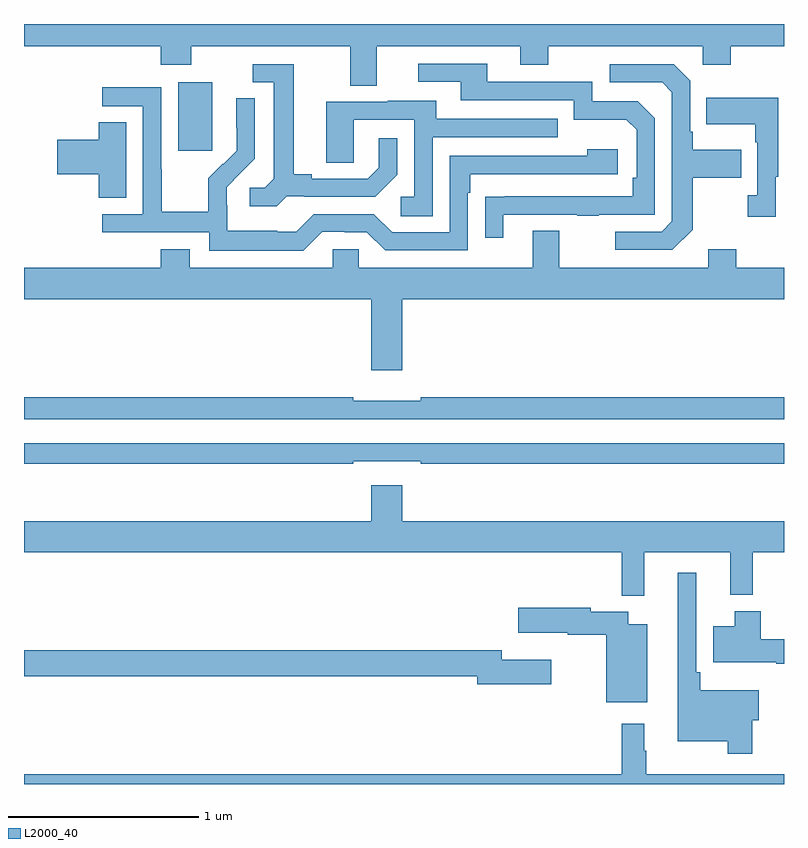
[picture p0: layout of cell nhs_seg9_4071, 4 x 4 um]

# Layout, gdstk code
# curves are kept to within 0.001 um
import gdstk
lib = gdstk.Library(unit=1e-6, precision=1e-09)
def R(c, l, rs):  # rectangles x0, y0, x1, y1
    for r in rs: c.add(gdstk.rectangle(r[:2], r[2:], *l))
def P(c, l, *ps):  # polygons
    for p in ps: c.add(gdstk.Polygon(p, *l))
L2000_40 = (2000, 40)

nhs_seg9_4071 = lib.new_cell('nhs_seg9_4071')
R(nhs_seg9_4071, L2000_40, [(343.811,1231.833,343.99,1232.194)])
P(nhs_seg9_4071, L2000_40, [(344.857,1232.384),(345.611,1232.384),(345.611,1232.285),(345.759,1232.285),(345.759,1232.384),(346.572,1232.384),(346.572,1232.285),(346.719,1232.285),(346.719,1232.384),(347,1232.384),(347,1232.5),(343,1232.5),(343,1232.384),(343.721,1232.384),(343.721,1232.285),(343.881,1232.285),(343.881,1232.384),(344.717,1232.384),(344.717,1232.176),(344.857,1232.176)],
  [(345.523,1231.497),(345.913,1231.497),(345.913,1231.492),(346.025,1231.492),(346.025,1231.497),(346.32,1231.497),(346.32,1232.004),(346.23,1232.094),(345.99,1232.094),(345.99,1232.196),(345.439,1232.196),(345.439,1232.292),(345.075,1232.292),(345.075,1232.196),(345.299,1232.196),(345.299,1232.1),(345.894,1232.1),(345.894,1231.997),(346.171,1231.997),(346.224,1231.944),(346.224,1231.69),(346.204,1231.69),(346.204,1231.593),(345.427,1231.592),(345.427,1231.374),(345.523,1231.374)],
  [(344.382,1231.593),(344.476,1231.593),(344.476,1231.59),(344.848,1231.59),(344.964,1231.706),(344.964,1231.9),(344.867,1231.9),(344.867,1231.743),(344.81,1231.686),(344.515,1231.686),(344.515,1231.709),(344.419,1231.709),(344.419,1232.289),(344.205,1232.289),(344.205,1232.193),(344.315,1232.193),(344.315,1231.685),(344.268,1231.638),(344.187,1231.638),(344.187,1231.541),(344.33,1231.541)],
  [(346.519,1231.417),(346.519,1231.69),(346.775,1231.69),(346.775,1231.837),(346.519,1231.837),(346.519,1231.933),(346.506,1231.933),(346.506,1232.202),(346.419,1232.289),(346.083,1232.289),(346.083,1232.193),(346.359,1232.193),(346.41,1232.142),(346.41,1231.461),(346.356,1231.407),(346.113,1231.407),(346.113,1231.311),(346.413,1231.311)],
  [(344.571,1231.407),(344.687,1231.407),(344.687,1231.404),(344.805,1231.404),(344.901,1231.308),(345.336,1231.308),(345.336,1231.613),(345.349,1231.613),(345.349,1231.71),(346.126,1231.71),(346.126,1231.84),(345.965,1231.84),(345.965,1231.806),(345.24,1231.806),(345.24,1231.404),(344.937,1231.404),(344.841,1231.5),(344.526,1231.5),(344.433,1231.407),(344.333,1231.407),(344.333,1231.411),(344.07,1231.411),(344.07,1231.545),(344.068,1231.545),(344.068,1231.642),(344.214,1231.79),(344.214,1232.108),(344.118,1232.108),(344.118,1231.954),(344.12,1231.954),(344.12,1231.832),(344.049,1231.761),(344.046,1231.764),(343.969,1231.687),(343.969,1231.513),(343.725,1231.513),(343.725,1231.736),(343.722,1231.736),(343.722,1232.166),(343.413,1232.166),(343.413,1232.067),(343.626,1232.067),(343.626,1231.5),(343.413,1231.5),(343.413,1231.404),(343.974,1231.404),(343.974,1231.307),(344.471,1231.307)],
  [(346.957,1231.697),(346.969,1231.697),(346.969,1232.113),(346.591,1232.113),(346.591,1231.973),(346.848,1231.973),(346.848,1231.877),(346.86,1231.877),(346.86,1231.598),(346.809,1231.598),(346.809,1231.485),(346.957,1231.485)],
  [(345.15,1231.905),(345.809,1231.905),(345.809,1232.001),(345.169,1232.001),(345.169,1232.095),(344.915,1232.095),(344.915,1232.091),(344.591,1232.091),(344.591,1231.771),(344.736,1231.771),(344.736,1231.995),(345.054,1231.995),(345.054,1231.59),(344.982,1231.59),(344.982,1231.489),(345.15,1231.489)],
  [(343.537,1231.982),(343.394,1231.982),(343.394,1231.892),(343.176,1231.892),(343.176,1231.709),(343.394,1231.709),(343.394,1231.585),(343.537,1231.585)],
  [(344.992,1231.052),(347,1231.052),(347,1231.216),(346.749,1231.216),(346.749,1231.315),(346.601,1231.315),(346.601,1231.216),(345.817,1231.216),(345.817,1231.411),(345.677,1231.411),(345.677,1231.216),(344.763,1231.216),(344.763,1231.314),(344.625,1231.314),(344.625,1231.216),(343.873,1231.216),(343.873,1231.315),(343.721,1231.315),(343.721,1231.216),(343,1231.216),(343,1231.052),(344.828,1231.052),(344.828,1230.678),(344.992,1230.678)],
  [(347,1230.536),(345.088,1230.536),(345.088,1230.517),(344.732,1230.517),(344.732,1230.536),(343,1230.536),(343,1230.42),(347,1230.42)],
  [(344.732,1230.198),(345.088,1230.198),(345.088,1230.186),(347,1230.186),(347,1230.294),(343,1230.294),(343,1230.186),(344.732,1230.186)],
  [(346.265,1229.72),(346.718,1229.72),(346.718,1229.495),(346.835,1229.495),(346.835,1229.72),(347,1229.72),(347,1229.884),(344.992,1229.884),(344.992,1230.073),(344.828,1230.073),(344.828,1229.884),(343,1229.884),(343,1229.72),(346.147,1229.72),(346.147,1229.492),(346.265,1229.492)],
  [(346.832,1228.835),(346.867,1228.835),(346.867,1228.993),(346.559,1228.993),(346.559,1229.089),(346.539,1229.089),(346.539,1229.611),(346.442,1229.611),(346.442,1228.724),(346.704,1228.724),(346.704,1228.659),(346.832,1228.659)],
  [(346.279,1229.341),(346.18,1229.341),(346.18,1229.407),(345.984,1229.407),(345.984,1229.427),(345.6,1229.427),(345.6,1229.297),(345.862,1229.297),(345.862,1229.285),(346.064,1229.285),(346.064,1228.931),(346.279,1228.931)],
  [(347,1229.263),(346.877,1229.263),(346.877,1229.41),(346.742,1229.41),(346.742,1229.329),(346.628,1229.329),(346.628,1229.141),(346.96,1229.141),(346.96,1229.134),(347,1229.134)],
  [(345.775,1229.155),(345.514,1229.155),(345.514,1229.204),(343,1229.204),(343,1229.068),(345.386,1229.068),(345.386,1229.026),(345.775,1229.026)],
  [(347,1228.552),(346.276,1228.552),(346.276,1228.676),(346.264,1228.676),(346.264,1228.816),(346.147,1228.816),(346.147,1228.552),(343,1228.552),(343,1228.5),(347,1228.5)])

lib.write_gds('nhs_seg9_4071.gds')
